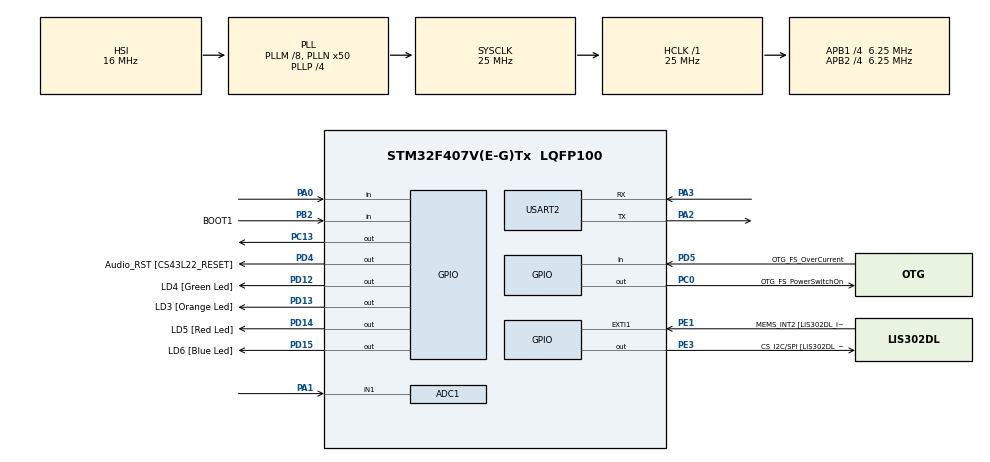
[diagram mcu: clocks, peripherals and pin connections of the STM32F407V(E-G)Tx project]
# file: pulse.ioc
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ADC1.Channel-30\#ChannelRegularConversion=ADC_CHANNEL_1
ADC1.NbrOfConversionFlag=1
ADC1.Rank-30\#ChannelRegularConversion=1
ADC1.SamplingTime-30\#ChannelRegularConversion=ADC_SAMPLETIME_3CYCLES
ADC1.master=1
Mcu.Family=STM32F4
Mcu.Name=STM32F407V(E-G)Tx
Mcu.Package=LQFP100
NVIC.PriorityGroup=NVIC_PRIORITYGROUP_0
NVIC.TIM7_IRQn=true\:0\:0\:false\:false\:true\:true
PA0-WKUP.Signal=GPIO_Input
PA1.Signal=ADCx_IN1
PA10.GPIO_Label=OTG_FS_ID
PA10.GPIO_Mode=GPIO_MODE_AF_PP
PA10.GPIO_PuPd=GPIO_NOPULL
PA10.GPIO_Speed=GPIO_SPEED_FREQ_LOW
PA10.Signal=USB_OTG_FS_ID
PA11.GPIO_Label=OTG_FS_DM
PA11.GPIO_Mode=GPIO_MODE_AF_PP
PA11.GPIO_PuPd=GPIO_NOPULL
PA11.GPIO_Speed=GPIO_SPEED_FREQ_LOW
PA11.Signal=USB_OTG_FS_DM
PA12.GPIO_Label=OTG_FS_DP
PA12.GPIO_Mode=GPIO_MODE_AF_PP
PA12.GPIO_PuPd=GPIO_NOPULL
PA12.GPIO_Speed=GPIO_SPEED_FREQ_LOW
PA12.Signal=USB_OTG_FS_DP
PA13.GPIO_Label=SWDIO
PA13.Signal=SYS_JTMS-SWDIO
PA14.GPIO_Label=SWCLK
PA14.Signal=SYS_JTCK-SWCLK
PA2.Mode=Asynchronous
PA2.Signal=USART2_TX
PA3.Mode=Asynchronous
PA3.Signal=USART2_RX
PA4.GPIO_Label=I2S3_WS [CS43L22_LRCK]
PA4.GPIO_Mode=GPIO_MODE_AF_PP
PA4.GPIO_PuPd=GPIO_NOPULL
PA4.GPIO_Speed=GPIO_SPEED_FREQ_LOW
PA4.Signal=I2S3_WS
PA5.GPIO_Label=SPI1_SCK [LIS302DL_SCL/SPC]
PA5.GPIO_Mode=GPIO_MODE_AF_PP
PA5.GPIO_PuPd=GPIO_NOPULL
PA5.GPIO_Speed=GPIO_SPEED_FREQ_LOW
PA5.Signal=SPI1_SCK
PA6.GPIO_Label=SPI1_MISO [LIS302DL_SDO]
PA6.GPIO_Mode=GPIO_MODE_AF_PP
PA6.GPIO_PuPd=GPIO_NOPULL
PA6.GPIO_Speed=GPIO_SPEED_FREQ_LOW
PA6.Signal=SPI1_MISO
PA7.GPIO_Label=SPI1_MOSI [LIS302DL_SDA/SDI/SDO]
PA7.GPIO_Mode=GPIO_MODE_AF_PP
PA7.GPIO_PuPd=GPIO_NOPULL
PA7.GPIO_Speed=GPIO_SPEED_FREQ_LOW
PA7.Signal=SPI1_MOSI
PA9.GPIO_Label=VBUS_FS
PA9.GPIO_Mode=GPIO_MODE_INPUT
PA9.GPIO_PuPd=GPIO_NOPULL
PA9.Signal=USB_OTG_FS_VBUS
PB10.GPIO_Label=CLK_IN [MP45DT02_CLK]
PB10.GPIO_Mode=GPIO_MODE_AF_PP
PB10.GPIO_PuPd=GPIO_NOPULL
PB10.GPIO_Speed=GPIO_SPEED_FREQ_LOW
PB10.Signal=I2S2_CK
PB2.GPIO_Label=BOOT1
PB2.GPIO_Mode=GPIO_MODE_INPUT
PB2.GPIO_PuPd=GPIO_NOPULL
PB2.Signal=GPIO_Input
PB3.GPIO_Label=SWO
PB3.Signal=SYS_JTDO-SWO
PB6.GPIO_Label=Audio_SCL [CS43L22_SCL]
PB6.GPIO_Mode=GPIO_MODE_AF_OD
PB6.GPIO_PuPd=GPIO_NOPULL
PB6.GPIO_Speed=GPIO_SPEED_FREQ_LOW
PB6.Signal=I2C1_SCL
PB9.GPIO_Label=Audio_SDA [CS43L22_SDA]
PB9.GPIO_Mode=GPIO_MODE_AF_OD
PB9.GPIO_PuPd=GPIO_NOPULL
PB9.GPIO_Speed=GPIO_SPEED_FREQ_LOW
PB9.Signal=I2C1_SDA
PC0.GPIO_Label=OTG_FS_PowerSwitchOn
PC0.GPIO_PuPd=GPIO_NOPULL
PC0.GPIO_Speed=GPIO_SPEED_FREQ_LOW
PC0.PinState=GPIO_PIN_SET
PC0.Signal=GPIO_Output
PC10.GPIO_Label=I2S3_SCK [CS43L22_SCLK]
PC10.GPIO_Mode=GPIO_MODE_AF_PP
PC10.GPIO_PuPd=GPIO_NOPULL
PC10.GPIO_Speed=GPIO_SPEED_FREQ_LOW
PC10.Signal=I2S3_CK
PC12.GPIO_Label=I2S3_SD [CS43L22_SDIN]
PC12.GPIO_Mode=GPIO_MODE_AF_PP
PC12.GPIO_PuPd=GPIO_NOPULL
PC12.GPIO_Speed=GPIO_SPEED_FREQ_LOW
PC12.Signal=I2S3_SD
PC13-ANTI_TAMP.Signal=GPIO_Output
PC14-OSC32_IN.GPIO_Label=PC14-OSC32_IN
PC14-OSC32_IN.Signal=RCC_OSC32_IN
PC15-OSC32_OUT.GPIO_Label=PC15-OSC32_OUT
PC15-OSC32_OUT.Signal=RCC_OSC32_OUT
PC3.GPIO_Label=PDM_OUT [MP45DT02_DOUT]
PC3.GPIO_Mode=GPIO_MODE_AF_PP
PC3.GPIO_PuPd=GPIO_NOPULL
PC3.GPIO_Speed=GPIO_SPEED_FREQ_LOW
PC3.Signal=I2S2_SD
PC7.GPIO_Label=I2S3_MCK [CS43L22_MCLK]
PC7.GPIO_Mode=GPIO_MODE_AF_PP
PC7.GPIO_PuPd=GPIO_NOPULL
PC7.GPIO_Speed=GPIO_SPEED_FREQ_LOW
PC7.Signal=I2S3_MCK
PD12.GPIO_Label=LD4 [Green Led]
PD12.GPIO_PuPd=GPIO_NOPULL
PD12.GPIO_Speed=GPIO_SPEED_FREQ_LOW
PD12.Signal=GPIO_Output
PD13.GPIO_Label=LD3 [Orange Led]
PD13.GPIO_PuPd=GPIO_NOPULL
PD13.GPIO_Speed=GPIO_SPEED_FREQ_LOW
PD13.Signal=GPIO_Output
PD14.GPIO_Label=LD5 [Red Led]
PD14.GPIO_PuPd=GPIO_NOPULL
PD14.GPIO_Speed=GPIO_SPEED_FREQ_LOW
PD14.Signal=GPIO_Output
PD15.GPIO_Label=LD6 [Blue Led]
PD15.GPIO_PuPd=GPIO_NOPULL
PD15.GPIO_Speed=GPIO_SPEED_FREQ_LOW
PD15.Signal=GPIO_Output
PD4.GPIO_Label=Audio_RST [CS43L22_RESET]
PD4.GPIO_PuPd=GPIO_NOPULL
PD4.GPIO_Speed=GPIO_SPEED_FREQ_LOW
PD4.Signal=GPIO_Output
PD5.GPIO_Label=OTG_FS_OverCurrent
PD5.GPIO_Mode=GPIO_MODE_INPUT
PD5.GPIO_PuPd=GPIO_NOPULL
PD5.Signal=GPIO_Input
PE1.GPIO_Label=MEMS_INT2 [LIS302DL_INT2]
PE1.GPIO_ModeDefaultEXTI=GPIO_MODE_EVT_RISING
PE1.GPIO_PuPd=GPIO_NOPULL
PE1.Signal=GPXTI1
PE3.GPIO_Label=CS_I2C/SPI [LIS302DL_CS_I2C/SPI]
PE3.GPIO_PuPd=GPIO_NOPULL
PE3.GPIO_Speed=GPIO_SPEED_FREQ_LOW
PE3.Signal=GPIO_Output
PH1-OSC_OUT.GPIO_Label=PH1-OSC_OUT
PH1-OSC_OUT.Signal=RCC_OSC_OUT
ProjectManager.HeapSize=0x200
ProjectManager.StackSize=0x400
ProjectManager.TargetToolchain=SW4STM32
RCC.48MHZClocksFreq_Value=14285714.285714285
RCC.AHBFreq_Value=25000000
RCC.APB1CLKDivider=RCC_HCLK_DIV4
RCC.APB1Freq_Value=6250000
RCC.APB1TimFreq_Value=12500000
RCC.APB2CLKDivider=RCC_HCLK_DIV4
RCC.APB2Freq_Value=6250000
RCC.APB2TimFreq_Value=12500000
RCC.CortexFreq_Value=25000000
RCC.HCLKFreq_Value=25000000
RCC.HSE_VALUE=8000000
RCC.HSI_VALUE=16000000
RCC.LSE_VALUE=32768
RCC.PLLM=8
RCC.PLLN=50
RCC.PLLP=RCC_PLLP_DIV4
RCC.PLLQ=7
RCC.SYSCLKFreq_VALUE=25000000
RCC.SYSCLKSource=RCC_SYSCLKSOURCE_PLLCLK
RCC.VCOOutputFreq_Value=100000000
SH.ADCx_IN1.0=ADC1_IN1,IN1
TIM7.Period=999
TIM7.Prescaler=9
USART2.VirtualMode=VM_ASYNC
VP_TIM7_VS_ClockSourceINT.Mode=Enable_Timer
board=STM32F4DISCOVERY

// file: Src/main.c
/**
  ******************************************************************************
  * @file           : main.c
  * @brief          : Main program body
  ******************************************************************************
  ** This notice applies to any and all portions of this file
  * that are not between comment pairs USER CODE BEGIN and
  * USER CODE END. Other portions of this file, whether
  * inserted by the user or by software development tools
  * are owned by their respective copyright owners.
  *
  * COPYRIGHT(c) 2018 STMicroelectronics
  *
  * Redistribution and use in source and binary forms, with or without modification,
  * are permitted provided that the following conditions are met:
  *   1. Redistributions of source code must retain the above copyright notice,
  *      this list of conditions and the following disclaimer.
  *   2. Redistributions in binary form must reproduce the above copyright notice,
  *      this list of conditions and the following disclaimer in the documentation
  *      and/or other materials provided with the distribution.
  *   3. Neither the name of STMicroelectronics nor the names of its contributors
  *      may be used to endorse or promote products derived from this software
  *      without specific prior written permission.
  *
  * THIS SOFTWARE IS PROVIDED BY THE COPYRIGHT HOLDERS AND CONTRIBUTORS "AS IS"
  * AND ANY EXPRESS OR IMPLIED WARRANTIES, INCLUDING, BUT NOT LIMITED TO, THE
  * IMPLIED WARRANTIES OF MERCHANTABILITY AND FITNESS FOR A PARTICULAR PURPOSE ARE
  * DISCLAIMED. IN NO EVENT SHALL THE COPYRIGHT HOLDER OR CONTRIBUTORS BE LIABLE
  * FOR ANY DIRECT, INDIRECT, INCIDENTAL, SPECIAL, EXEMPLARY, OR CONSEQUENTIAL
  * DAMAGES (INCLUDING, BUT NOT LIMITED TO, PROCUREMENT OF SUBSTITUTE GOODS OR
  * SERVICES; LOSS OF USE, DATA, OR PROFITS; OR BUSINESS INTERRUPTION) HOWEVER
  * CAUSED AND ON ANY THEORY OF LIABILITY, WHETHER IN CONTRACT, STRICT LIABILITY,
  * OR TORT (INCLUDING NEGLIGENCE OR OTHERWISE) ARISING IN ANY WAY OUT OF THE USE
  * OF THIS SOFTWARE, EVEN IF ADVISED OF THE POSSIBILITY OF SUCH DAMAGE.
  *
  ******************************************************************************
  */
#include "main.h"
#include "stm32f4xx_hal.h"

ADC_HandleTypeDef hadc1;

TIM_HandleTypeDef htim7;

UART_HandleTypeDef huart2;

/* USER CODE BEGIN PV */
/* Private variables ---------------------------------------------------------*/

/* USER CODE END PV */

void SystemClock_Config(void);
static void MX_GPIO_Init(void);
static void MX_USART2_UART_Init(void);
static void MX_TIM7_Init(void);
static void MX_ADC1_Init(void);

/* USER CODE BEGIN PFP */
/* Private function prototypes -----------------------------------------------*/

/* USER CODE END PFP */

/* USER CODE BEGIN 0 */
uint32_t adcValArray[1];
/* USER CODE END 0 */

int main(void)
{

  /* MCU Configuration----------------------------------------------------------*/

  /* Reset of all peripherals, Initializes the Flash interface and the Systick. */
  HAL_Init();

  /* Configure the system clock */
  SystemClock_Config();

  /* Initialize all configured peripherals */
  MX_GPIO_Init();
  MX_USART2_UART_Init();
  MX_TIM7_Init();
  MX_ADC1_Init();

  /* Infinite loop */
  /* USER CODE BEGIN WHILE */
  int rithm;
  int count;
  int bpm;
  uint16_t adc;
  int temp=0,max=0;
  while (1)
  {
  /* USER CODE END WHILE */

  /* USER CODE BEGIN 3 */
  char text[13];
  char testadc[13];
  HAL_ADC_Start_DMA(&hadc1,(uint32_t*)adcValArray,1);
  uint16_t adc = HAL_ADC_GetValue(&hadc1);
  if (adc>temp)temp=adc;
  else if (temp>max){
	  max=temp;
  }
  if (max!=0 && max-adc >=80) {
	  rithm ++;
  	  max = 0;
  	  temp = 0;
  }
  count ++;
  //sprintf (testadc,"adc %d \n",adc); // for test adc
  //HAL_UART_Transmit(&huart2,(uint8_t*)testadc, sizeof(testadc),1000); //for test adc
  HAL_Delay(10);
  if (count == 1000) {
	   bpm = rithm*6;
   	  sprintf (text,"%d",bpm);
	  HAL_UART_Transmit(&huart2,text,sizeof(text) ,1000);
	  count = 0;
	  rithm = 0;
  }
  }
  /* USER CODE END 3 */

}

void SystemClock_Config(void)
{

  RCC_OscInitTypeDef RCC_OscInitStruct;
  RCC_ClkInitTypeDef RCC_ClkInitStruct;

    /**Configure the main internal regulator output voltage
    */
  __HAL_RCC_PWR_CLK_ENABLE();

  __HAL_PWR_VOLTAGESCALING_CONFIG(PWR_REGULATOR_VOLTAGE_SCALE1);

    /**Initializes the CPU, AHB and APB busses clocks
    */
  RCC_OscInitStruct.OscillatorType = RCC_OSCILLATORTYPE_HSI;
  RCC_OscInitStruct.HSIState = RCC_HSI_ON;
  RCC_OscInitStruct.HSICalibrationValue = 16;
  RCC_OscInitStruct.PLL.PLLState = RCC_PLL_ON;
  RCC_OscInitStruct.PLL.PLLSource = RCC_PLLSOURCE_HSI;
  RCC_OscInitStruct.PLL.PLLM = 8;
  RCC_OscInitStruct.PLL.PLLN = 50;
  RCC_OscInitStruct.PLL.PLLP = RCC_PLLP_DIV4;
  RCC_OscInitStruct.PLL.PLLQ = 7;
  if (HAL_RCC_OscConfig(&RCC_OscInitStruct) != HAL_OK)
  {
    _Error_Handler(__FILE__, __LINE__);
  }

    /**Initializes the CPU, AHB and APB busses clocks
    */
  RCC_ClkInitStruct.ClockType = RCC_CLOCKTYPE_HCLK|RCC_CLOCKTYPE_SYSCLK
                              |RCC_CLOCKTYPE_PCLK1|RCC_CLOCKTYPE_PCLK2;
  RCC_ClkInitStruct.SYSCLKSource = RCC_SYSCLKSOURCE_PLLCLK;
  RCC_ClkInitStruct.AHBCLKDivider = RCC_SYSCLK_DIV1;
  RCC_ClkInitStruct.APB1CLKDivider = RCC_HCLK_DIV4;
  RCC_ClkInitStruct.APB2CLKDivider = RCC_HCLK_DIV4;

  if (HAL_RCC_ClockConfig(&RCC_ClkInitStruct, FLASH_LATENCY_0) != HAL_OK)
  {
    _Error_Handler(__FILE__, __LINE__);
  }

    /**Configure the Systick interrupt time
    */
  HAL_SYSTICK_Config(HAL_RCC_GetHCLKFreq()/1000);

    /**Configure the Systick
    */
  HAL_SYSTICK_CLKSourceConfig(SYSTICK_CLKSOURCE_HCLK);

  /* SysTick_IRQn interrupt configuration */
  HAL_NVIC_SetPriority(SysTick_IRQn, 0, 0);
}

/* ADC1 init function */
static void MX_ADC1_Init(void)
{

  ADC_ChannelConfTypeDef sConfig;

    /**Configure the global features of the ADC (Clock, Resolution, Data Alignment and number of conversion)
    */
  hadc1.Instance = ADC1;
  hadc1.Init.ClockPrescaler = ADC_CLOCK_SYNC_PCLK_DIV2;
  hadc1.Init.Resolution = ADC_RESOLUTION_12B;
  hadc1.Init.ScanConvMode = DISABLE;
  hadc1.Init.ContinuousConvMode = DISABLE;
  hadc1.Init.DiscontinuousConvMode = DISABLE;
  hadc1.Init.ExternalTrigConvEdge = ADC_EXTERNALTRIGCONVEDGE_NONE;
  hadc1.Init.ExternalTrigConv = ADC_SOFTWARE_START;
  hadc1.Init.DataAlign = ADC_DATAALIGN_RIGHT;
  hadc1.Init.NbrOfConversion = 1;
  hadc1.Init.DMAContinuousRequests = DISABLE;
  hadc1.Init.EOCSelection = ADC_EOC_SINGLE_CONV;
  if (HAL_ADC_Init(&hadc1) != HAL_OK)
  {
    _Error_Handler(__FILE__, __LINE__);
  }

    /**Configure for the selected ADC regular channel its corresponding rank in the sequencer and its sample time.
    */
  sConfig.Channel = ADC_CHANNEL_1;
  sConfig.Rank = 1;
  sConfig.SamplingTime = ADC_SAMPLETIME_3CYCLES;
  if (HAL_ADC_ConfigChannel(&hadc1, &sConfig) != HAL_OK)
  {
    _Error_Handler(__FILE__, __LINE__);
  }

}

/* TIM7 init function */
static void MX_TIM7_Init(void)
{

  TIM_MasterConfigTypeDef sMasterConfig;

  htim7.Instance = TIM7;
  htim7.Init.Prescaler = 9;
  htim7.Init.CounterMode = TIM_COUNTERMODE_UP;
  htim7.Init.Period = 999;
  if (HAL_TIM_Base_Init(&htim7) != HAL_OK)
  {
    _Error_Handler(__FILE__, __LINE__);
  }

  sMasterConfig.MasterOutputTrigger = TIM_TRGO_RESET;
  sMasterConfig.MasterSlaveMode = TIM_MASTERSLAVEMODE_DISABLE;
  if (HAL_TIMEx_MasterConfigSynchronization(&htim7, &sMasterConfig) != HAL_OK)
  {
    _Error_Handler(__FILE__, __LINE__);
  }

}

/* USART2 init function */
static void MX_USART2_UART_Init(void)
{

  huart2.Instance = USART2;
  huart2.Init.BaudRate = 115200;
  huart2.Init.WordLength = UART_WORDLENGTH_8B;
  huart2.Init.StopBits = UART_STOPBITS_1;
  huart2.Init.Parity = UART_PARITY_NONE;
  huart2.Init.Mode = UART_MODE_TX_RX;
  huart2.Init.HwFlowCtl = UART_HWCONTROL_NONE;
  huart2.Init.OverSampling = UART_OVERSAMPLING_16;
  if (HAL_UART_Init(&huart2) != HAL_OK)
  {
    _Error_Handler(__FILE__, __LINE__);
  }

}

/** Configure pins as
        * Analog
        * Input
        * Output
        * EVENT_OUT
        * EXTI
     PC3   ------> I2S2_SD
     PA4   ------> I2S3_WS
     PA5   ------> SPI1_SCK
     PA6   ------> SPI1_MISO
     PA7   ------> SPI1_MOSI
     PB10   ------> I2S2_CK
     PC7   ------> I2S3_MCK
     PA9   ------> USB_OTG_FS_VBUS
     PA10   ------> USB_OTG_FS_ID
     PA11   ------> USB_OTG_FS_DM
     PA12   ------> USB_OTG_FS_DP
     PC10   ------> I2S3_CK
     PC12   ------> I2S3_SD
     PB6   ------> I2C1_SCL
     PB9   ------> I2C1_SDA
*/
static void MX_GPIO_Init(void)
{

  GPIO_InitTypeDef GPIO_InitStruct;

  /* GPIO Ports Clock Enable */
  __HAL_RCC_GPIOE_CLK_ENABLE();
  __HAL_RCC_GPIOC_CLK_ENABLE();
  __HAL_RCC_GPIOH_CLK_ENABLE();
  __HAL_RCC_GPIOA_CLK_ENABLE();
  __HAL_RCC_GPIOB_CLK_ENABLE();
  __HAL_RCC_GPIOD_CLK_ENABLE();

  /*Configure GPIO pin Output Level */
  HAL_GPIO_WritePin(CS_I2C_SPI_GPIO_Port, CS_I2C_SPI_Pin, GPIO_PIN_RESET);

  /*Configure GPIO pin Output Level */
  HAL_GPIO_WritePin(GPIOC, GPIO_PIN_13, GPIO_PIN_RESET);

  /*Configure GPIO pin Output Level */
  HAL_GPIO_WritePin(OTG_FS_PowerSwitchOn_GPIO_Port, OTG_FS_PowerSwitchOn_Pin, GPIO_PIN_SET);

  /*Configure GPIO pin Output Level */
  HAL_GPIO_WritePin(GPIOD, LD4_Pin|LD3_Pin|LD5_Pin|LD6_Pin
                          |Audio_RST_Pin, GPIO_PIN_RESET);

  /*Configure GPIO pin : CS_I2C_SPI_Pin */
  GPIO_InitStruct.Pin = CS_I2C_SPI_Pin;
  GPIO_InitStruct.Mode = GPIO_MODE_OUTPUT_PP;
  GPIO_InitStruct.Pull = GPIO_NOPULL;
  GPIO_InitStruct.Speed = GPIO_SPEED_FREQ_LOW;
  HAL_GPIO_Init(CS_I2C_SPI_GPIO_Port, &GPIO_InitStruct);

  /*Configure GPIO pins : PC13 OTG_FS_PowerSwitchOn_Pin */
  GPIO_InitStruct.Pin = GPIO_PIN_13|OTG_FS_PowerSwitchOn_Pin;
  GPIO_InitStruct.Mode = GPIO_MODE_OUTPUT_PP;
  GPIO_InitStruct.Pull = GPIO_NOPULL;
  GPIO_InitStruct.Speed = GPIO_SPEED_FREQ_LOW;
  HAL_GPIO_Init(GPIOC, &GPIO_InitStruct);

  /*Configure GPIO pin : PDM_OUT_Pin */
  GPIO_InitStruct.Pin = PDM_OUT_Pin;
  GPIO_InitStruct.Mode = GPIO_MODE_AF_PP;
  GPIO_InitStruct.Pull = GPIO_NOPULL;
  GPIO_InitStruct.Speed = GPIO_SPEED_FREQ_LOW;
  GPIO_InitStruct.Alternate = GPIO_AF5_SPI2;
  HAL_GPIO_Init(PDM_OUT_GPIO_Port, &GPIO_InitStruct);

  /*Configure GPIO pin : PA0 */
  GPIO_InitStruct.Pin = GPIO_PIN_0;
  GPIO_InitStruct.Mode = GPIO_MODE_INPUT;
  GPIO_InitStruct.Pull = GPIO_NOPULL;
  HAL_GPIO_Init(GPIOA, &GPIO_InitStruct);

  /*Configure GPIO pin : I2S3_WS_Pin */
  GPIO_InitStruct.Pin = I2S3_WS_Pin;
  GPIO_InitStruct.Mode = GPIO_MODE_AF_PP;
  GPIO_InitStruct.Pull = GPIO_NOPULL;
  GPIO_InitStruct.Speed = GPIO_SPEED_FREQ_LOW;
  GPIO_InitStruct.Alternate = GPIO_AF6_SPI3;
  HAL_GPIO_Init(I2S3_WS_GPIO_Port, &GPIO_InitStruct);

  /*Configure GPIO pins : SPI1_SCK_Pin SPI1_MISO_Pin SPI1_MOSI_Pin */
  GPIO_InitStruct.Pin = SPI1_SCK_Pin|SPI1_MISO_Pin|SPI1_MOSI_Pin;
  GPIO_InitStruct.Mode = GPIO_MODE_AF_PP;
  GPIO_InitStruct.Pull = GPIO_NOPULL;
  GPIO_InitStruct.Speed = GPIO_SPEED_FREQ_LOW;
  GPIO_InitStruct.Alternate = GPIO_AF5_SPI1;
  HAL_GPIO_Init(GPIOA, &GPIO_InitStruct);

  /*Configure GPIO pin : BOOT1_Pin */
  GPIO_InitStruct.Pin = BOOT1_Pin;
  GPIO_InitStruct.Mode = GPIO_MODE_INPUT;
  GPIO_InitStruct.Pull = GPIO_NOPULL;
  HAL_GPIO_Init(BOOT1_GPIO_Port, &GPIO_InitStruct);

  /*Configure GPIO pin : CLK_IN_Pin */
  GPIO_InitStruct.Pin = CLK_IN_Pin;
  GPIO_InitStruct.Mode = GPIO_MODE_AF_PP;
  GPIO_InitStruct.Pull = GPIO_NOPULL;
  GPIO_InitStruct.Speed = GPIO_SPEED_FREQ_LOW;
  GPIO_InitStruct.Alternate = GPIO_AF5_SPI2;
  HAL_GPIO_Init(CLK_IN_GPIO_Port, &GPIO_InitStruct);

  /*Configure GPIO pins : LD4_Pin LD3_Pin LD5_Pin LD6_Pin
                           Audio_RST_Pin */
  GPIO_InitStruct.Pin = LD4_Pin|LD3_Pin|LD5_Pin|LD6_Pin
                          |Audio_RST_Pin;
  GPIO_InitStruct.Mode = GPIO_MODE_OUTPUT_PP;
  GPIO_InitStruct.Pull = GPIO_NOPULL;
  GPIO_InitStruct.Speed = GPIO_SPEED_FREQ_LOW;
  HAL_GPIO_Init(GPIOD, &GPIO_InitStruct);

  /*Configure GPIO pins : I2S3_MCK_Pin I2S3_SCK_Pin I2S3_SD_Pin */
  GPIO_InitStruct.Pin = I2S3_MCK_Pin|I2S3_SCK_Pin|I2S3_SD_Pin;
  GPIO_InitStruct.Mode = GPIO_MODE_AF_PP;
  GPIO_InitStruct.Pull = GPIO_NOPULL;
  GPIO_InitStruct.Speed = GPIO_SPEED_FREQ_LOW;
  GPIO_InitStruct.Alternate = GPIO_AF6_SPI3;
  HAL_GPIO_Init(GPIOC, &GPIO_InitStruct);

  /*Configure GPIO pin : VBUS_FS_Pin */
  GPIO_InitStruct.Pin = VBUS_FS_Pin;
  GPIO_InitStruct.Mode = GPIO_MODE_INPUT;
  GPIO_InitStruct.Pull = GPIO_NOPULL;
  HAL_GPIO_Init(VBUS_FS_GPIO_Port, &GPIO_InitStruct);

  /*Configure GPIO pins : OTG_FS_ID_Pin OTG_FS_DM_Pin OTG_FS_DP_Pin */
  GPIO_InitStruct.Pin = OTG_FS_ID_Pin|OTG_FS_DM_Pin|OTG_FS_DP_Pin;
  GPIO_InitStruct.Mode = GPIO_MODE_AF_PP;
  GPIO_InitStruct.Pull = GPIO_NOPULL;
  GPIO_InitStruct.Speed = GPIO_SPEED_FREQ_LOW;
  GPIO_InitStruct.Alternate = GPIO_AF10_OTG_FS;
  HAL_GPIO_Init(GPIOA, &GPIO_InitStruct);

  /*Configure GPIO pin : OTG_FS_OverCurrent_Pin */
  GPIO_InitStruct.Pin = OTG_FS_OverCurrent_Pin;
  GPIO_InitStruct.Mode = GPIO_MODE_INPUT;
  GPIO_InitStruct.Pull = GPIO_NOPULL;
  HAL_GPIO_Init(OTG_FS_OverCurrent_GPIO_Port, &GPIO_InitStruct);

  /*Configure GPIO pins : Audio_SCL_Pin Audio_SDA_Pin */
  GPIO_InitStruct.Pin = Audio_SCL_Pin|Audio_SDA_Pin;
  GPIO_InitStruct.Mode = GPIO_MODE_AF_OD;
  GPIO_InitStruct.Pull = GPIO_PULLUP;
  GPIO_InitStruct.Speed = GPIO_SPEED_FREQ_LOW;
  GPIO_InitStruct.Alternate = GPIO_AF4_I2C1;
  HAL_GPIO_Init(GPIOB, &GPIO_InitStruct);

  /*Configure GPIO pin : MEMS_INT2_Pin */
  GPIO_InitStruct.Pin = MEMS_INT2_Pin;
  GPIO_InitStruct.Mode = GPIO_MODE_EVT_RISING;
  GPIO_InitStruct.Pull = GPIO_NOPULL;
  HAL_GPIO_Init(MEMS_INT2_GPIO_Port, &GPIO_InitStruct);

}

void _Error_Handler(char *file, int line)
{
  while(1)
  {
  }
}

/************************ (C) COPYRIGHT STMicroelectronics *****END OF FILE****/
